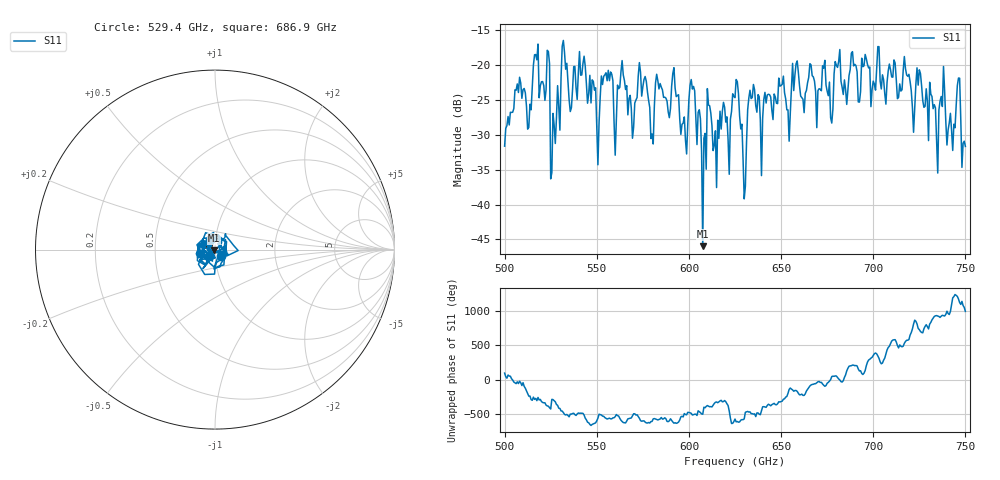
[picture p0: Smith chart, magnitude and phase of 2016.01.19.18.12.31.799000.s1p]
!Created with skrf (http://scikit-rf.org).
# GHz S RI R 50.0
!freq ReS11 ImS11
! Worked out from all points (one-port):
!   401 points, 500 GHz to 750 GHz, reference 50 ohm
!   lowest |S11| = -46.0 dB at 607.5 GHz (marker M1), VSWR 1.01, Z = 49.6 - j0.346 ohm
!   |S11| at or under -10 dB: start of sweep to end of sweep
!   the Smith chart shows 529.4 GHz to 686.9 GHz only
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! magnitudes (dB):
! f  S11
! 500 GHz  -31.6
! 507.5 GHz  -23.9
! 513.1 GHz  -28.9
! 516.9 GHz  -18.5
! 523.1 GHz  -17.9
! 526.2 GHz  -26.9
! 531.2 GHz  -17.3
! 550.6 GHz  -34.3
! 562.5 GHz  -23.2
! 570 GHz  -28.9
! 576.2 GHz  -21.7
! 580 GHz  -29.9
! 583.1 GHz  -22.2
! 593.8 GHz  -24.4
! 598.1 GHz  -30.7
! 601.9 GHz  -23.4
! 607.5 GHz  -46.0
! 611.2 GHz  -25.9
! 613.8 GHz  -31.5
! 625 GHz  -24.7
! 630 GHz  -39.2
! 633.8 GHz  -24.8
! 656.2 GHz  -19.8
! 687.5 GHz  -20.7
! 718.8 GHz  -21.6
! 733.8 GHz  -26.1
! 746.2 GHz  -21.9
! 750 GHz  -31.7
